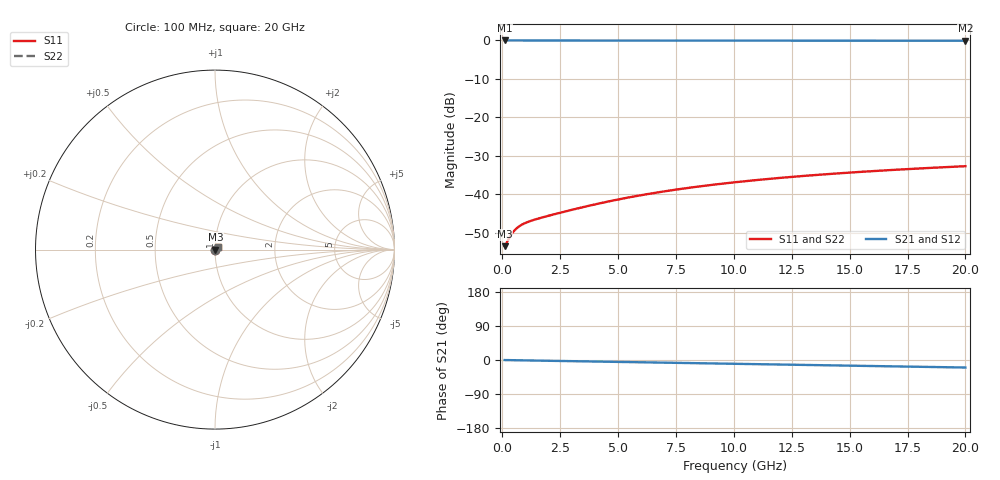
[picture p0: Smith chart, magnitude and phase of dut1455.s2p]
! Touchstone file exported from HFSS 2026.1.0
!  File:  C:/ffzhzh/LocalFiles/Ansys_Project_Files/temp_train_TMRDL_1455_1783167264_55132.aedt
!  Generated:  08:15:31 PM Jul  4, 2026
!  Design:  TMRDL
!  Project:  temp_train_TMRDL_1455_1783167264_55132
! Variables:
!  h_bsmrdl = 2um
!  h_ox = 20um
!  h_rdl = 5um
!  h_sub = 80um
!  h_tmrdl = 2.53um
!  h_tsv = 80um
!  h_via = 3um
!  l_bsmrdl = 300um
!  l_sub = 738.68um
!  l_tmrdl = 338.68um
!  m_sub = 200um
!  pitch = 33.14um
!  r_tsv = 6um
!  s_tmrdl = 10um
!  w_bsmrdl = 18um
!  w_sub = 500um
!  w_tmrdl = 28.77um
!  x_tsv_center1 = 353.065um
!  x_tsv_center2 = 671.065um
!  x_tsv_center3 = 1038.515um
!  x_tsv_center4 = 1356.515um
!  x_tsv_center5 = 1723.965um
!  x_tsv_center6 = 2041.965um
# GHz S MA R 50.000000
! Terminal data exported
! Port[1] = TM_RDL1_1_T1
! Port[2] = TM_RDL1_1_T2
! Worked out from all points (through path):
!   200 points, 100 MHz to 20 GHz, reference 50 ohm
!   highest |S21| = -0.02 dB at 100 MHz (marker M1); lowest = -0.1 dB at 20 GHz (marker M2)
!   group delay of S21, straight-line fit = 2.75 ps
!   lowest |S11| = -53.5 dB at 100 MHz (marker M3), VSWR 1.00, Z = 50.2 + j0.0478 ohm
!   |S11| at or under -10 dB: start of sweep to end of sweep
!   |S22| runs from -53.5 to -32.7 dB; largest |S21 - S12| = 5e-15
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0.1  0.002103 13.1  0.998 -0.1  0.998 -0.1  0.002103 13.1
! Gamma 0 0 0 0
! Port Impedance 50 0 50 0
0.2  0.002367 22.5  0.9978 -0.2  0.9978 -0.2  0.002368 22.5
0.3  0.002695 27.9  0.9976 -0.4  0.9976 -0.4  0.002695 27.9
0.4  0.003016 30.7  0.9973 -0.5  0.9973 -0.5  0.003018 30.7
0.5  0.003303 32.0  0.9971 -0.6  0.9971 -0.6  0.003305 32.0
0.6  0.003549 32.7  0.997 -0.7  0.997 -0.7  0.00355 32.6
0.7  0.003756 33.0  0.9968 -0.8  0.9968 -0.8  0.003758 33.0
0.9  0.004085 33.4  0.9966 -1.0  0.9966 -1.0  0.004086 33.4
1.2  0.004453 34.5  0.9964 -1.3  0.9964 -1.3  0.004454 34.4
1.6  0.004854 36.5  0.9962 -1.7  0.9962 -1.7  0.004855 36.5
2.5  0.005725 41.9  0.9959 -2.6  0.9959 -2.6  0.005725 41.9
3.5  0.006787 46.6  0.9957 -3.6  0.9957 -3.6  0.006787 46.6
4.3  0.007695 49.2  0.9954 -4.4  0.9954 -4.4  0.007695 49.2
5.1  0.00863 51.0  0.9952 -5.2  0.9952 -5.2  0.008631 50.9
5.9  0.009574 52.0  0.9949 -6.0  0.9949 -6.0  0.009575 52.0
6.8  0.01063 52.6  0.9945 -6.9  0.9945 -6.9  0.01063 52.6
8.4  0.01247 52.7  0.9939 -8.5  0.9939 -8.5  0.01247 52.7
10.1  0.01432 52.0  0.9932 -10.2  0.9932 -10.2  0.01432 52.0
11.7  0.01597 50.9  0.9925 -11.7  0.9925 -11.7  0.01597 50.9
13.4  0.01761 49.6  0.9918 -13.4  0.9918 -13.4  0.01761 49.5
16.7  0.02051 46.7  0.9905 -16.7  0.9905 -16.7  0.02052 46.6
20  0.02309 43.7  0.9893 -19.9  0.9893 -19.9  0.02309 43.7
